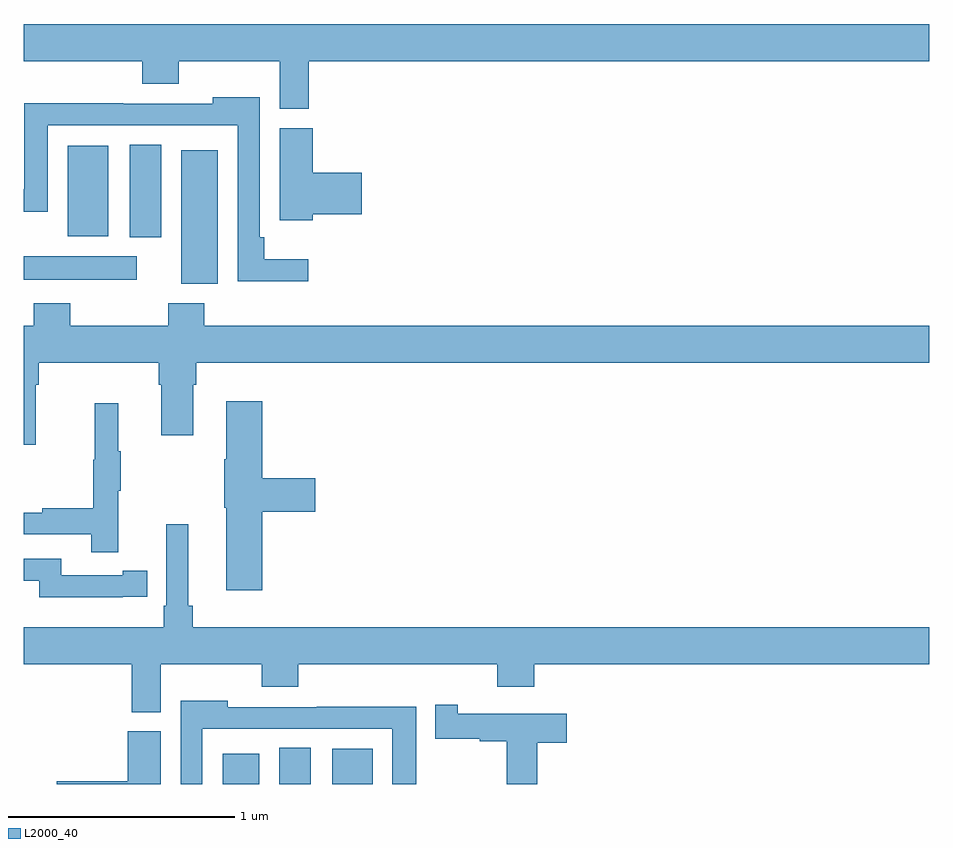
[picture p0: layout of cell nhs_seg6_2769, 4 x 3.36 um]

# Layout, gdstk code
import gdstk
lib = gdstk.Library(unit=1e-6, precision=1e-09)
def R(c, l, rs):  # rectangles x0, y0, x1, y1
    for r in rs: c.add(gdstk.rectangle(r[:2], r[2:], *l))
def P(c, l, *ps):  # polygons
    for p in ps: c.add(gdstk.Polygon(p, *l))
L2000_40 = (2000, 40)

nhs_seg6_2769 = lib.new_cell('nhs_seg6_2769')
R(nhs_seg6_2769, L2000_40, [(275.879,921.5,276.04,921.634), (276.128,921.5,276.268,921.659), (276.362,921.5,276.541,921.655), (275.696,923.708,275.857,924.298), (275,923.726,275.5,923.83), (275.468,923.915,275.608,924.323), (275.195,923.918,275.374,924.319)])
P(nhs_seg6_2769, L2000_40, [(276.26,924.692),(279,924.692),(279,924.856),(275,924.856),(275,924.692),(275.525,924.692),(275.525,924.593),(275.685,924.593),(275.685,924.692),(276.131,924.692),(276.131,924.481),(276.26,924.481)],
  [(276.256,923.818),(276.062,923.818),(276.062,923.914),(276.042,923.914),(276.042,924.532),(275.835,924.532),(275.835,924.504),(275.441,924.504),(275.441,924.506),(275.003,924.506),(275.003,924.126),(275,924.126),(275,924.026),(275.107,924.026),(275.107,924.408),(275.946,924.408),(275.946,923.72),(276.256,923.72)],
  [(276.278,924.017),(276.493,924.017),(276.493,924.2),(276.278,924.2),(276.278,924.396),(276.131,924.396),(276.131,923.99),(276.278,923.99)],
  [(275.053,923.264),(275.066,923.264),(275.066,923.36),(275.597,923.36),(275.597,923.264),(275.609,923.264),(275.609,923.04),(275.749,923.04),(275.749,923.264),(275.762,923.264),(275.762,923.36),(279,923.36),(279,923.524),(275.798,923.524),(275.798,923.623),(275.638,923.623),(275.638,923.524),(275.205,923.524),(275.205,923.623),(275.045,923.623),(275.045,923.524),(275,923.524),(275,922.998),(275.053,922.998)],
  [(276.053,922.703),(276.289,922.703),(276.289,922.85),(276.053,922.85),(276.053,923.191),(275.894,923.191),(275.894,922.933),(275.887,922.933),(275.887,922.719),(275.894,922.719),(275.894,922.356),(276.053,922.356)],
  [(275.417,922.795),(275.428,922.795),(275.428,922.969),(275.417,922.969),(275.417,923.182),(275.314,923.182),(275.314,922.932),(275.307,922.932),(275.307,922.718),(275.083,922.718),(275.083,922.698),(275,922.698),(275,922.602),(275.299,922.602),(275.299,922.524),(275.417,922.524)],
  [(275.438,922.326),(275.546,922.326),(275.546,922.442),(275.438,922.442),(275.438,922.422),(275.166,922.422),(275.166,922.494),(275,922.494),(275,922.398),(275.07,922.398),(275.07,922.325),(275.438,922.325)],
  [(275.728,922.288),(275.728,922.648),(275.631,922.648),(275.631,922.288),(275.618,922.288),(275.618,922.192),(275,922.192),(275,922.028),(275.477,922.028),(275.477,921.817),(275.605,921.817),(275.605,922.028),(276.052,922.028),(276.052,921.929),(276.212,921.929),(276.212,922.028),(277.091,922.028),(277.091,921.929),(277.256,921.929),(277.256,922.028),(279,922.028),(279,922.192),(275.747,922.192),(275.747,922.288)],
  [(275.79,921.744),(276.629,921.744),(276.629,921.5),(276.733,921.5),(276.733,921.842),(276.295,921.842),(276.295,921.84),(275.901,921.84),(275.901,921.868),(275.694,921.868),(275.694,921.5),(275.79,921.5)],
  [(277.268,921.682),(277.399,921.682),(277.399,921.811),(276.918,921.811),(276.918,921.85),(276.818,921.85),(276.818,921.7),(277.014,921.7),(277.014,921.689),(277.133,921.689),(277.133,921.5),(277.268,921.5)],
  [(275.605,921.732),(275.459,921.732),(275.459,921.512),(275.146,921.512),(275.146,921.5),(275.605,921.5)])

lib.write_gds('nhs_seg6_2769.gds')
